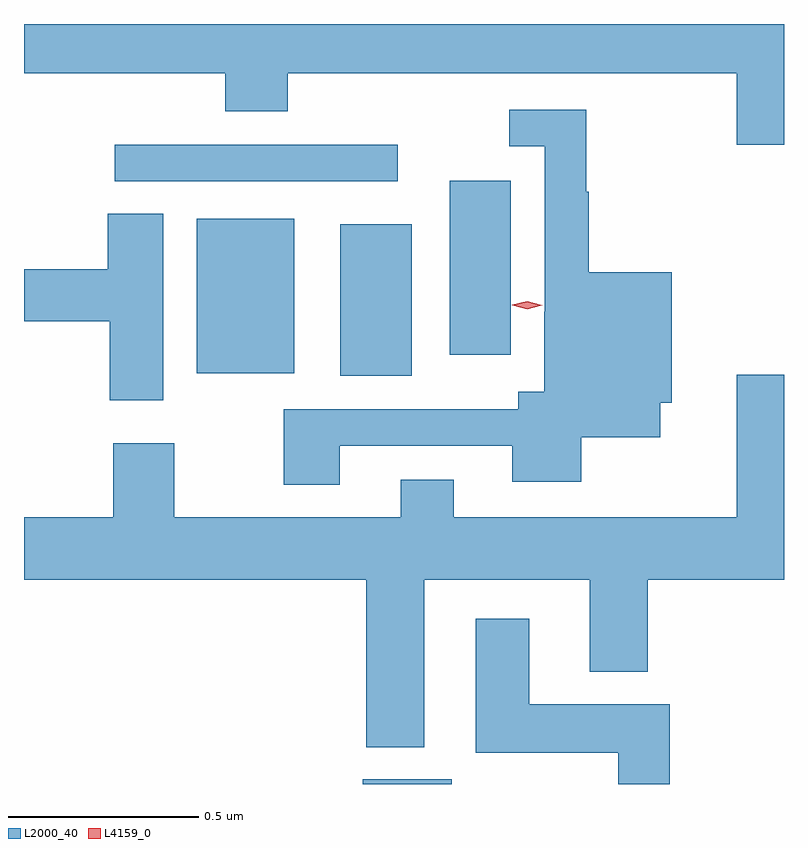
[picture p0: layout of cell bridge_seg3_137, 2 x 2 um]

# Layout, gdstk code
import gdstk
lib = gdstk.Library(unit=1e-6, precision=1e-09)
def R(c, l, rs):  # rectangles x0, y0, x1, y1
    for r in rs: c.add(gdstk.rectangle(r[:2], r[2:], *l))
def P(c, l, *ps):  # polygons
    for p in ps: c.add(gdstk.Polygon(p, *l))
L2000_40 = (2000, 40)
L4159_0 = (4159, 0)

bridge_seg3_137 = lib.new_cell('bridge_seg3_137')
R(bridge_seg3_137, L2000_40, [(355.832,676.402,356.065,676.414), (355.772,677.477,355.96,677.875), (355.394,677.483,355.651,677.89), (356.06,677.532,356.221,677.989), (355.179,677.988,355.924,678.084)])
P(bridge_seg3_137, L2000_40, [(356.94,678.402),(354.94,678.402),(354.94,678.272),(355.469,678.272),(355.469,678.173),(355.634,678.173),(355.634,678.272),(356.816,678.272),(356.816,678.084),(356.94,678.084)],
  [(355.771,677.292),(356.225,677.292),(356.225,677.198),(356.407,677.198),(356.407,677.315),(356.614,677.315),(356.614,677.405),(356.644,677.405),(356.644,677.749),(356.426,677.749),(356.426,677.96),(356.419,677.96),(356.419,678.177),(356.217,678.177),(356.217,678.08),(356.31,678.08),(356.31,677.645),(356.309,677.645),(356.309,677.434),(356.24,677.434),(356.24,677.388),(355.624,677.388),(355.624,677.19),(355.771,677.19)],
  [(355.306,677.903),(355.16,677.903),(355.16,677.756),(354.94,677.756),(354.94,677.62),(355.165,677.62),(355.165,677.412),(355.306,677.412)],
  [(355.993,676.94),(356.429,676.94),(356.429,676.697),(356.582,676.697),(356.582,676.94),(356.94,676.94),(356.94,677.479),(356.816,677.479),(356.816,677.104),(356.071,677.104),(356.071,677.203),(355.931,677.203),(355.931,677.104),(355.335,677.104),(355.335,677.299),(355.175,677.299),(355.175,677.104),(354.94,677.104),(354.94,676.94),(355.841,676.94),(355.841,676.499),(355.993,676.499)],
  [(356.639,676.612),(356.269,676.612),(356.269,676.837),(356.129,676.837),(356.129,676.484),(356.504,676.484),(356.504,676.402),(356.639,676.402)])
P(bridge_seg3_137, L4159_0, [(356.264,677.652),(356.225,677.662),(356.225,677.663),(356.225,677.663),(356.264,677.672),(356.304,677.662),(356.304,677.662),(356.304,677.662)])

lib.write_gds('bridge_seg3_137.gds')
